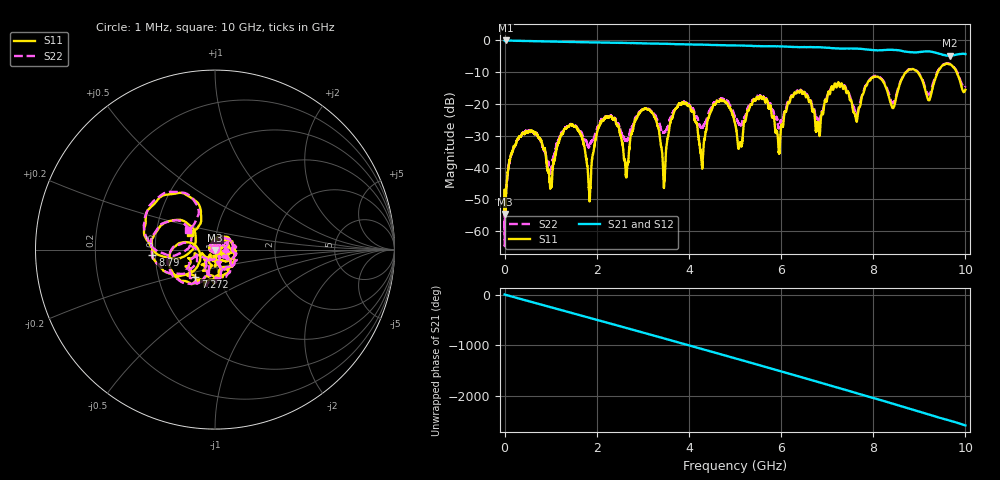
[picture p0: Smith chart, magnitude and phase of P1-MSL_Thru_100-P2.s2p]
! 2/19/2018 12:32:11 PM
! E:\STEPPED_EXPERIMENT_2018-02-19\P1-MSL_THRU_100-P2.S2P
! CHANNEL.1
! TR.MEASUREMENT
! CORRECTED.DATA
# GHZ S RI R 50.0
! FREQ.GHZ  S11RE  S11IM  S21RE  S21IM  S12RE  S12IM  S22RE  S22IM
!; PortSelection: Port_12
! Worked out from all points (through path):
!   10000 points, 1 MHz to 10 GHz, reference 50 ohm
!   highest |S21| = 0.01 dB at 22 MHz (marker M1); lowest = -4.8 dB at 9.664 GHz (marker M2)
!   group delay of S21, straight-line fit = 712 ps
!   lowest |S11| = -54.6 dB at 10 MHz (marker M3), VSWR 1.00, Z = 50.1 - j0.134 ohm
!   |S11| at or under -10 dB: start of sweep to 8.715 GHz; 8.969 GHz to 9.397 GHz (428.6 MHz wide, 4.67 % of centre); 9.81 GHz to end of sweep
!   |S22| runs from -64.8 to -7.1 dB; largest |S21 - S12| = 0.02
!   S11 on the Smith chart (normalised r, x): 1 MHz: 1.00, +0.00; 7.272 GHz: 0.77, -0.24; 8.79 GHz: 0.48, -0.03; 10 GHz: 0.74, +0.13
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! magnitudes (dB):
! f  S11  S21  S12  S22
! 1 MHz  -51.5  -0.1  0.0  -59.6
! 10 MHz  -54.6  0.0  0.0  -53.9
! 22 MHz  -51.6  0.0  0.0  -51.9
! 417 MHz  -29.3  -0.1  -0.2  -29.2
! 991 MHz  -46.6  -0.3  -0.3  -41.6
! 1.668 GHz  -30.0  -0.5  -0.5  -28.9
! 1.837 GHz  -47.8  -0.5  -0.6  -33.3
! 2.172 GHz  -24.3  -0.7  -0.7  -24.2
! 2.64 GHz  -42.2  -0.8  -0.8  -31.2
! 2.945 GHz  -22.5  -0.9  -0.9  -22.2
! 3.334 GHz  -27.4  -1.0  -1.0  -25.6
! 3.457 GHz  -46.2  -1.0  -1.1  -28.9
! 3.819 GHz  -20.0  -1.2  -1.2  -20.0
! 4.273 GHz  -37.8  -1.3  -1.3  -27.3
! 4.577 GHz  -20.0  -1.4  -1.4  -19.7
! 5.001 GHz  -26.1  -1.6  -1.6  -24.2
! 6.667 GHz  -21.2  -2.1  -2.1  -20.3
! 7.272 GHz  -14.6  -2.5  -2.5  -13.9
! 8.334 GHz  -17.4  -2.9  -3.0  -16.4
! 8.79 GHz  -9.1  -3.7  -3.7  -9.1
! 9.664 GHz  -7.5  -4.8  -4.8  -7.4
! 10 GHz  -15.5  -4.3  -4.3  -14.4
